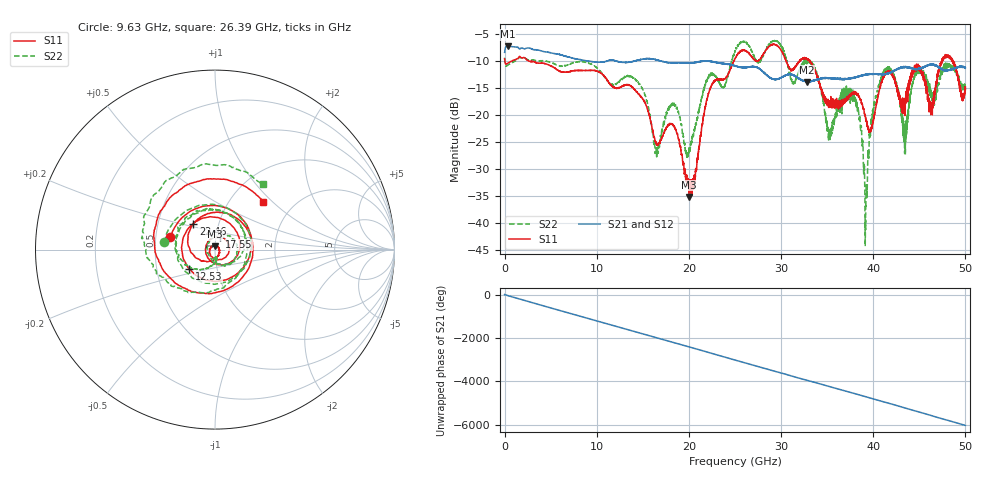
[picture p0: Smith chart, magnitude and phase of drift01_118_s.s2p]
!Created with skrf (http://scikit-rf.org).
# Hz S RI R 50.0
!freq ReS11 ImS11 ReS21 ImS21 ReS12 ImS12 ReS22 ImS22
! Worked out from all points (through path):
!   10001 points, 300 kHz to 50 GHz, reference 50 ohm
!   highest |S21| = -7.33 dB at 325.3 MHz (marker M1); lowest = -14.0 dB at 32.77 GHz (marker M2)
!   group delay of S21, straight-line fit = 335 ps
!   lowest |S11| = -35.2 dB at 20.01 GHz (marker M3), VSWR 1.04, Z = 49.9 + j1.73 ohm
!   |S11| at or under -10 dB: 2.553 GHz to 24.9 GHz (22.35 GHz wide, 163 % of centre); 30.53 GHz to 32.02 GHz (1.486 GHz wide, 4.75 % of centre); 33.07 GHz to 47.44 GHz (14.37 GHz wide, 35.7 % of centre) (the widest 3 of 22)
!   |S22| runs from -44.3 to -6.3 dB; largest |S21 - S12| = 0.01
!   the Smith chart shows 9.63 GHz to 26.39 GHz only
!   S11 on the Smith chart (normalised r, x): 9.63 GHz: 0.60, +0.09; 12.53 GHz: 0.73, -0.16; 17.55 GHz: 1.04, +0.15; 22.46 GHz: 0.75, +0.23; 26.39 GHz: 1.42, +0.88
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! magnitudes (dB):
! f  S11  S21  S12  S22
! 300 kHz  -9.7  -8.5  -8.5  -9.5
! 325.3 MHz  -10.5  -7.3  -7.3  -10.9
! 8.335 GHz  -11.8  -9.8  -9.9  -10.2
! 9.63 GHz  -11.8  -10.2  -10.2  -10.9
! 12.53 GHz  -14.9  -10.3  -10.2  -13.6
! 16.67 GHz  -25.6  -9.9  -9.9  -27.1
! 17.55 GHz  -22.4  -10.3  -10.3  -19.6
! 20.01 GHz  -35.2  -10.5  -10.5  -26.9
! 22.46 GHz  -14.5  -10.2  -10.2  -12.6
! 25 GHz  -9.6  -10.9  -11.0  -8.3
! 26.39 GHz  -8.5  -11.2  -11.2  -6.9
! 32.77 GHz  -9.7  -14.0  -13.9  -10.1
! 33.34 GHz  -10.7  -13.8  -13.8  -10.4
! 35.24 GHz  -17.9  -13.2  -13.2  -23.8
! 37.99 GHz  -15.8  -13.1  -13.1  -17.2
! 39.17 GHz  -20.6  -12.6  -12.6  -41.3
! 40.14 GHz  -19.9  -12.5  -12.5  -17.8
! 41.67 GHz  -12.0  -12.2  -12.3  -11.7
! 43.44 GHz  -17.7  -11.2  -11.1  -24.6
! 44.88 GHz  -10.9  -11.5  -11.5  -12.0
! 46.25 GHz  -18.8  -10.7  -10.7  -16.0
! 50 GHz  -15.3  -11.3  -11.3  -15.0
